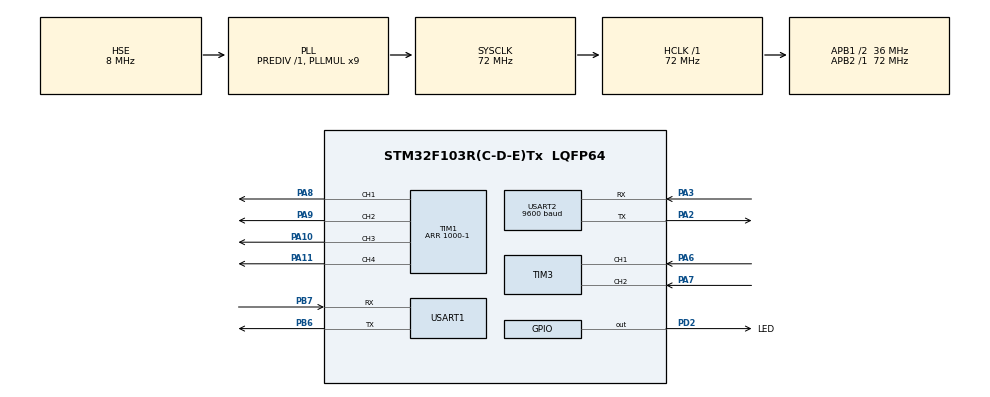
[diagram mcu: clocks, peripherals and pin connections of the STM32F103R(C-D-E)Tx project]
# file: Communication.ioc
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Dma.Request0=USART2_RX
Dma.USART2_RX.0.Direction=DMA_PERIPH_TO_MEMORY
Dma.USART2_RX.0.Instance=DMA1_Channel6
Dma.USART2_RX.0.MemDataAlignment=DMA_MDATAALIGN_BYTE
Dma.USART2_RX.0.MemInc=DMA_MINC_ENABLE
Dma.USART2_RX.0.Mode=DMA_NORMAL
Dma.USART2_RX.0.PeriphDataAlignment=DMA_PDATAALIGN_BYTE
Dma.USART2_RX.0.PeriphInc=DMA_PINC_DISABLE
Dma.USART2_RX.0.Priority=DMA_PRIORITY_LOW
Mcu.Family=STM32F1
Mcu.Name=STM32F103R(C-D-E)Tx
Mcu.Package=LQFP64
NVIC.DMA1_Channel6_IRQn=true\:0\:0\:false\:false\:true\:false\:true\:true
NVIC.PriorityGroup=NVIC_PRIORITYGROUP_4
NVIC.TIM2_IRQn=true\:0\:0\:false\:false\:true\:true\:true\:true
NVIC.USART2_IRQn=true\:0\:0\:false\:false\:true\:true\:true\:true
PA10.Signal=S_TIM1_CH3
PA11.Signal=S_TIM1_CH4
PA13.Mode=Serial_Wire
PA13.Signal=SYS_JTMS-SWDIO
PA14.Mode=Serial_Wire
PA14.Signal=SYS_JTCK-SWCLK
PA2.Mode=Asynchronous
PA2.Signal=USART2_TX
PA3.Mode=Asynchronous
PA3.Signal=USART2_RX
PA6.Signal=S_TIM3_CH1
PA7.Signal=S_TIM3_CH2
PA8.Signal=S_TIM1_CH1
PA9.Signal=S_TIM1_CH2
PB6.Mode=Asynchronous
PB6.Signal=USART1_TX
PB7.Mode=Asynchronous
PB7.Signal=USART1_RX
PC14-OSC32_IN.Mode=LSE-External-Oscillator
PC14-OSC32_IN.Signal=RCC_OSC32_IN
PC15-OSC32_OUT.Mode=LSE-External-Oscillator
PC15-OSC32_OUT.Signal=RCC_OSC32_OUT
PD0-OSC_IN.Mode=HSE-External-Oscillator
PD0-OSC_IN.Signal=RCC_OSC_IN
PD1-OSC_OUT.Mode=HSE-External-Oscillator
PD1-OSC_OUT.Signal=RCC_OSC_OUT
PD2.GPIO_Label=LED
PD2.Signal=GPIO_Output
ProjectManager.HeapSize=0x200
ProjectManager.StackSize=0x400
ProjectManager.TargetToolchain=STM32CubeIDE
RCC.AHBFreq_Value=72000000
RCC.APB1CLKDivider=RCC_HCLK_DIV2
RCC.APB1Freq_Value=36000000
RCC.APB1TimFreq_Value=72000000
RCC.APB2Freq_Value=72000000
RCC.APB2TimFreq_Value=72000000
RCC.HCLKFreq_Value=72000000
RCC.PLLMUL=RCC_PLL_MUL9
RCC.PLLSourceVirtual=RCC_PLLSOURCE_HSE
RCC.SYSCLKFreq_VALUE=72000000
RCC.SYSCLKSource=RCC_SYSCLKSOURCE_PLLCLK
RCC.USBFreq_Value=72000000
SH.S_TIM1_CH1.0=TIM1_CH1,PWM Generation1 CH1
SH.S_TIM1_CH2.0=TIM1_CH2,PWM Generation2 CH2
SH.S_TIM1_CH3.0=TIM1_CH3,PWM Generation3 CH3
SH.S_TIM1_CH4.0=TIM1_CH4,PWM Generation4 CH4
SH.S_TIM3_CH1.0=TIM3_CH1,Encoder_Interface
SH.S_TIM3_CH2.0=TIM3_CH2,Encoder_Interface
TIM1.Channel-PWM\ Generation1\ CH1=TIM_CHANNEL_1
TIM1.Channel-PWM\ Generation2\ CH2=TIM_CHANNEL_2
TIM1.Channel-PWM\ Generation3\ CH3=TIM_CHANNEL_3
TIM1.Channel-PWM\ Generation4\ CH4=TIM_CHANNEL_4
TIM1.Period=1000-1
TIM2.Period=10000-1
TIM2.Prescaler=72-1
TIM3.EncoderMode=TIM_ENCODERMODE_TI12
USART1.VirtualMode=VM_ASYNC
USART2.BaudRate=9600
USART2.VirtualMode=VM_ASYNC
VP_TIM1_VS_ClockSourceINT.Mode=Internal
VP_TIM2_VS_ClockSourceINT.Mode=Internal
board=custom

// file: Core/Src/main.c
/* USER CODE BEGIN Header */
/**
  ******************************************************************************
  * @file           : main.c
  * @brief          : Main program body
  ******************************************************************************
  * @attention
  *
  * Copyright (c) 2023 STMicroelectronics.
  * All rights reserved.
  *
  * This software is licensed under terms that can be found in the LICENSE file
  * in the root directory of this software component.
  * If no LICENSE file comes with this software, it is provided AS-IS.
  *
  ******************************************************************************
  */
/* USER CODE END Header */
#include "main.h"
#include "dma.h"
#include "tim.h"
#include "usart.h"
#include "gpio.h"

/* USER CODE BEGIN Includes */
#include <stdarg.h>
#include <stdio.h>
#include <string.h>
/* USER CODE END Includes */

void SystemClock_Config(void);

/* USER CODE BEGIN 0 */
#define PID_MAX 1000//改成自己设定的PWM波的单波最长输出时间
#define PID_MIN -1000//改成自己设定的PWM波的单波最长输出时间的相反数
typedef struct{
  float sum;//误差关于时间的积分
  float lr;//上一次的速度
  float Kp;
  float Ki;
  float Kd;
}pidstr;
pidstr pidparm;//用于保存PID参数和用于计算PWM占空比的量
float rset=5;//设置目标转速
float pid(pidstr *a,float dr)//用于更新PWM的占空比
{
  a->sum = a->sum + dr;
  float pwm = a->Kp * dr + a->Ki * a->sum + a->Kd * (dr - a->lr);
  a->lr = dr;
  if(pwm >= PID_MAX)
  {
    return PID_MAX;
  }
  else if(pwm <= PID_MIN)
  {
    return PID_MIN;
  }
  else{
    return pwm;
  }
}

HAL_TIM_PeriodElapsedCallback(TIM_HandleTypeDef *htim)
{
 if(htim->Instance==TIM2)
 {
  int cnt=__HAL_TIM_GetCounter(&htim3);
  __HAL_TIM_SetCounter(&htim3, 0);
  float rnow=cnt/10.8;
  float dr=rset-rnow;
  float pwm=pid(&pidparm,dr);
  u1_printf("%f,%f\n",rnow,rset);
  __HAL_TIM_SetCompare(&htim1,TIM_CHANNEL_1, pwm);
 }
}

void u1_printf(char* fmt, ...) {
  uint16_t len;
  va_list ap;
  va_start(ap, fmt);
  uint8_t buf[200];
  vsprintf((char*)buf, fmt, ap);
  va_end(ap);
  len = strlen((char*)buf);
  HAL_UART_Transmit(&huart1, buf, len, HAL_MAX_DELAY);//若使用了其他UART通道，将对应通道（参数1）修改即可。该函数在（6.补充）中会进行说明。
}
/* USER CODE END 0 */

int main(void)
{
  /* USER CODE BEGIN 1 */
	pidparm.Kd=500;
	pidparm.Ki=15;
	pidparm.Kp=500;
	pidparm.lr=0;
	pidparm.sum=0;
  /* USER CODE END 1 */

  /* MCU Configuration--------------------------------------------------------*/

  /* Reset of all peripherals, Initializes the Flash interface and the Systick. */
  HAL_Init();

  /* Configure the system clock */
  SystemClock_Config();

  /* Initialize all configured peripherals */
  MX_GPIO_Init();
  MX_DMA_Init();
  MX_USART1_UART_Init();
  MX_USART2_UART_Init();
  MX_TIM2_Init();
  MX_TIM3_Init();
  MX_TIM1_Init();
  HAL_TIM_Base_Start_IT(&htim2); // 使能定时器2

  HAL_TIM_PWM_Start(&htim1, TIM_CHANNEL_1); // 使能定时器1的通道1，设定为PWM输出

  HAL_TIM_Encoder_Start(&htim3, TIM_CHANNEL_ALL); //使能编码器时钟3

  /* Infinite loop */
  while (1)
  {

  }
}

void SystemClock_Config(void)
{
  RCC_OscInitTypeDef RCC_OscInitStruct = {0};
  RCC_ClkInitTypeDef RCC_ClkInitStruct = {0};

  /** Initializes the RCC Oscillators according to the specified parameters
  * in the RCC_OscInitTypeDef structure.
  */
  RCC_OscInitStruct.OscillatorType = RCC_OSCILLATORTYPE_HSE;
  RCC_OscInitStruct.HSEState = RCC_HSE_ON;
  RCC_OscInitStruct.HSEPredivValue = RCC_HSE_PREDIV_DIV1;
  RCC_OscInitStruct.HSIState = RCC_HSI_ON;
  RCC_OscInitStruct.PLL.PLLState = RCC_PLL_ON;
  RCC_OscInitStruct.PLL.PLLSource = RCC_PLLSOURCE_HSE;
  RCC_OscInitStruct.PLL.PLLMUL = RCC_PLL_MUL9;
  if (HAL_RCC_OscConfig(&RCC_OscInitStruct) != HAL_OK)
  {
    Error_Handler();
  }

  /** Initializes the CPU, AHB and APB buses clocks
  */
  RCC_ClkInitStruct.ClockType = RCC_CLOCKTYPE_HCLK|RCC_CLOCKTYPE_SYSCLK
                              |RCC_CLOCKTYPE_PCLK1|RCC_CLOCKTYPE_PCLK2;
  RCC_ClkInitStruct.SYSCLKSource = RCC_SYSCLKSOURCE_PLLCLK;
  RCC_ClkInitStruct.AHBCLKDivider = RCC_SYSCLK_DIV1;
  RCC_ClkInitStruct.APB1CLKDivider = RCC_HCLK_DIV2;
  RCC_ClkInitStruct.APB2CLKDivider = RCC_HCLK_DIV1;

  if (HAL_RCC_ClockConfig(&RCC_ClkInitStruct, FLASH_LATENCY_2) != HAL_OK)
  {
    Error_Handler();
  }
}

void Error_Handler(void)
{
  __disable_irq();
  while (1)
  {
  }
}
